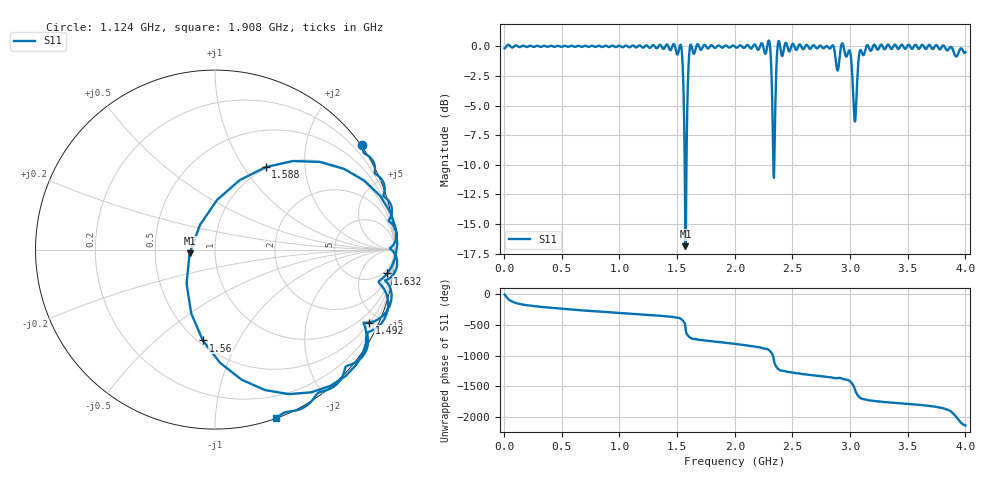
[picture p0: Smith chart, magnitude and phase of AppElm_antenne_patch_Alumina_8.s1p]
! TOUCHSTONE file generated by CST MICROWAVE STUDIO
! Date and time: Thu Jun  9 09:30:41 2022
! Project name: AppElm_antenne_patch_Alumina.cst
! Parameters = {L=30.5; W=41.8; e=0.035; h=1.6; lambda=0.190476; ls=90; w0=1.12; w1=0.41025; ws=90; y0=14; y1=10}
! Header version: 2018
! Port assignment regex: !\s*Touchstone port\s*([0-9]+)\s*=\s*(CST MWS port|CST DS port)\s*([0-9]+|Zmin|Zmax)\s*\(\"(.*)\"\)(\s*mode\s*([0-9]+))?.*
! Touchstone port assignment:
! Touchstone port 1 = CST MWS port 1 ("")
# GHz S MA R 50
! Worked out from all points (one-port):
!   1000 points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, 4 MHz to 4 GHz, reference 50 ohm
!   lowest |S11| = -16.9 dB at 1.572 GHz (marker M1), VSWR 1.33, Z = 37.6 - j1.65 ohm
!   |S11| at or under -10 dB: 1.566 GHz to 1.581 GHz (15.62 MHz wide, 0.993 % of centre); 2.334889 GHz to 2.342456 GHz (7.567 MHz wide, 0.324 % of centre)
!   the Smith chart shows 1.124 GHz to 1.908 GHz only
!   S11 on the Smith chart (normalised r, x): 1.124 GHz: -0.03, +3.14; 1.492 GHz: 0.53, -4.38; 1.56 GHz: 0.53, -0.72; 1.588 GHz: 0.98, +1.27; 1.632 GHz: 3, -14; 1.908 GHz: 0.00, -1.43
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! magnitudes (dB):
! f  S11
! 4 MHz  -0.2
! 504 MHz  0.0
! 1.004 GHz  0.0
! 1.124 GHz  0.0
! 1.492 GHz  -0.5
! 1.504 GHz  -0.7
! 1.536 GHz  0.0
! 1.56 GHz  -5.8
! 1.572 GHz  -16.9
! 1.588 GHz  -5.4
! 1.608 GHz  -0.3
! 1.632 GHz  -0.3
! 1.908 GHz  0.0
! 2.004 GHz  -0.1
! 2.292 GHz  0.5
! 2.308 GHz  -0.2
! 2.328 GHz  -6.1
! 2.34 GHz  -11.1
! 2.38 GHz  0.5
! 2.504 GHz  0.2
! 2.844 GHz  0.1
! 2.892 GHz  -2.1
! 2.936 GHz  0.2
! 3.004 GHz  -0.7
! 3.044 GHz  -6.3
! 3.096 GHz  -0.4
! 3.504 GHz  0.1
! 4 GHz  -0.5
